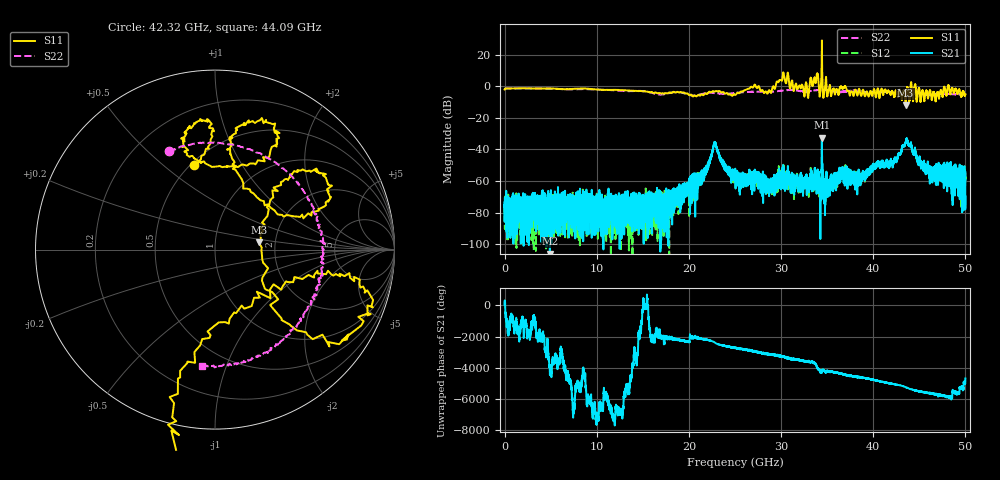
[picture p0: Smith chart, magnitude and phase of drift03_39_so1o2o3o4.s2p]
!Created with skrf (http://scikit-rf.org).
# Hz S RI R 50.0
!freq ReS11 ImS11 ReS21 ImS21 ReS12 ImS12 ReS22 ImS22
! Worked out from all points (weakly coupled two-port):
!   10000 points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, 5.3 MHz to 50 GHz, reference 50 ohm
!   highest |S21| = -32.48 dB at 34.43 GHz (marker M1); lowest = -105.8 dB at 4.915 GHz (marker M2)
!   lowest |S11| = -12.1 dB at 43.52 GHz (marker M3), VSWR 1.66, Z = 82 + j6.99 ohm
!   |S11| at or under -10 dB: 43.48335 GHz to 43.55539 GHz (72.04 MHz wide, 0.166 % of centre)
!   |S22| runs from -5.9 to -1.3 dB; largest |S21 - S12| = 0.013
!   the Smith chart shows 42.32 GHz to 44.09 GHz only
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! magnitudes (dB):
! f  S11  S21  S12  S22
! 5.3 MHz  -2.1  -75.2  -80.6  -2.1
! 4.915 GHz  -1.4  -105.8  -79.4  -1.6
! 8.34 GHz  -1.5  -85.4  -72.3  -1.9
! 16.67 GHz  -4.4  -86.2  -75.1  -5.2
! 20.94 GHz  -5.8  -63.0  -58.3  -5.7
! 22.82 GHz  -3.5  -35.5  -35.5  -4.5
! 25.01 GHz  -5.5  -55.7  -58.0  -4.3
! 27.02 GHz  -0.4  -60.6  -58.4  -3.5
! 28.83 GHz  -3.4  -63.1  -66.7  -3.5
! 30.14 GHz  4.4  -56.5  -58.4  -2.8
! 32.74 GHz  2.0  -57.1  -58.4  -3.3
! 33.34 GHz  2.6  -55.8  -58.2  -2.9
! 34.43 GHz  28.9  -32.5  -34.7  -2.3
! 35.33 GHz  0.4  -59.3  -60.9  -2.7
! 36.81 GHz  -1.0  -54.8  -55.0  -3.3
! 38.16 GHz  -3.6  -59.2  -56.9  -2.9
! 41.67 GHz  -3.0  -50.3  -50.7  -3.6
! 43.52 GHz  -12.1  -35.6  -35.6  -4.3
! 46.36 GHz  -8.8  -56.3  -54.6  -5.5
! 48.2 GHz  0.0  -50.9  -58.3  -4.9
! 49.74 GHz  -3.1  -55.7  -59.6  -5.0
! 50 GHz  -5.2  -69.6  -57.1  -5.0
